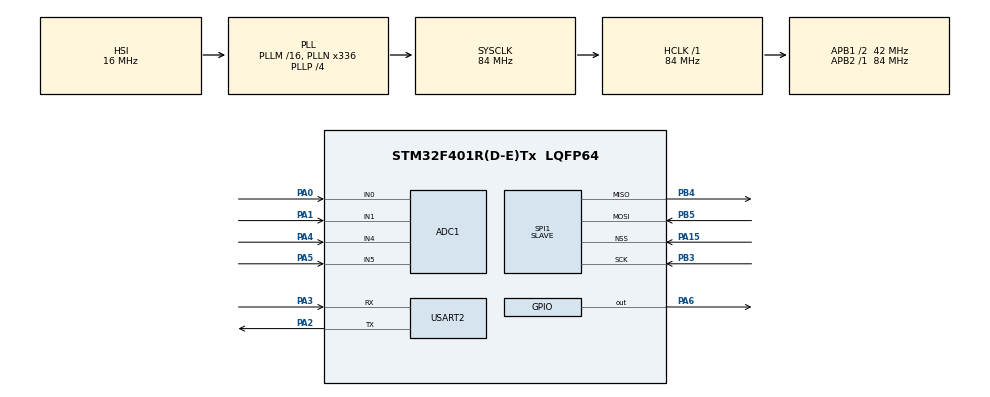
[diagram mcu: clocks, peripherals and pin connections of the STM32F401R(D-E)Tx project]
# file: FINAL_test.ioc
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ADC1.Channel-1\#ChannelRegularConversion=ADC_CHANNEL_0
ADC1.Channel-2\#ChannelRegularConversion=ADC_CHANNEL_1
ADC1.Channel-3\#ChannelRegularConversion=ADC_CHANNEL_4
ADC1.ContinuousConvMode=DISABLE
ADC1.DMAContinuousRequests=ENABLE
ADC1.ExternalTrigConv=ADC_EXTERNALTRIGCONV_T2_TRGO
ADC1.NbrOfConversion=3
ADC1.NbrOfConversionFlag=1
ADC1.Rank-1\#ChannelRegularConversion=1
ADC1.Rank-2\#ChannelRegularConversion=2
ADC1.Rank-3\#ChannelRegularConversion=3
ADC1.SamplingTime-1\#ChannelRegularConversion=ADC_SAMPLETIME_3CYCLES
ADC1.SamplingTime-2\#ChannelRegularConversion=ADC_SAMPLETIME_3CYCLES
ADC1.SamplingTime-3\#ChannelRegularConversion=ADC_SAMPLETIME_3CYCLES
ADC1.ScanConvMode=ENABLE
ADC1.master=1
Dma.ADC1.0.Direction=DMA_PERIPH_TO_MEMORY
Dma.ADC1.0.FIFOMode=DMA_FIFOMODE_DISABLE
Dma.ADC1.0.Instance=DMA2_Stream0
Dma.ADC1.0.MemDataAlignment=DMA_MDATAALIGN_HALFWORD
Dma.ADC1.0.MemInc=DMA_MINC_ENABLE
Dma.ADC1.0.Mode=DMA_CIRCULAR
Dma.ADC1.0.PeriphDataAlignment=DMA_PDATAALIGN_HALFWORD
Dma.ADC1.0.PeriphInc=DMA_PINC_DISABLE
Dma.ADC1.0.Priority=DMA_PRIORITY_LOW
Dma.Request0=ADC1
Dma.Request1=SPI1_TX
Dma.SPI1_TX.1.Direction=DMA_MEMORY_TO_PERIPH
Dma.SPI1_TX.1.FIFOMode=DMA_FIFOMODE_DISABLE
Dma.SPI1_TX.1.Instance=DMA2_Stream3
Dma.SPI1_TX.1.MemDataAlignment=DMA_MDATAALIGN_BYTE
Dma.SPI1_TX.1.MemInc=DMA_MINC_ENABLE
Dma.SPI1_TX.1.Mode=DMA_NORMAL
Dma.SPI1_TX.1.PeriphDataAlignment=DMA_PDATAALIGN_BYTE
Dma.SPI1_TX.1.PeriphInc=DMA_PINC_DISABLE
Dma.SPI1_TX.1.Priority=DMA_PRIORITY_LOW
Mcu.Family=STM32F4
Mcu.Name=STM32F401R(D-E)Tx
Mcu.Package=LQFP64
NVIC.DMA2_Stream0_IRQn=true\:0\:0\:false\:false\:true\:false\:true\:true
NVIC.DMA2_Stream3_IRQn=true\:0\:0\:false\:false\:true\:false\:true\:true
NVIC.PriorityGroup=NVIC_PRIORITYGROUP_4
PA0-WKUP.Signal=ADCx_IN0
PA1.Signal=ADCx_IN1
PA15.Mode=NSS_Signal_Hard_Input
PA15.Signal=SPI1_NSS
PA2.Mode=Asynchronous
PA2.Signal=USART2_TX
PA3.Mode=Asynchronous
PA3.Signal=USART2_RX
PA4.Signal=ADCx_IN4
PA5.Signal=ADCx_IN5
PA6.Signal=GPIO_Output
PB3.Mode=Full_Duplex_Slave
PB3.Signal=SPI1_SCK
PB4.Mode=Full_Duplex_Slave
PB4.Signal=SPI1_MISO
PB5.Mode=Full_Duplex_Slave
PB5.Signal=SPI1_MOSI
ProjectManager.HeapSize=0x200
ProjectManager.StackSize=0x400
ProjectManager.TargetToolchain=STM32CubeIDE
RCC.48MHZClocksFreq_Value=48000000
RCC.AHBFreq_Value=84000000
RCC.APB1CLKDivider=RCC_HCLK_DIV2
RCC.APB1Freq_Value=42000000
RCC.APB1TimFreq_Value=84000000
RCC.APB2Freq_Value=84000000
RCC.APB2TimFreq_Value=84000000
RCC.CortexFreq_Value=84000000
RCC.HCLKFreq_Value=84000000
RCC.HSE_VALUE=8000000
RCC.HSI_VALUE=16000000
RCC.LSE_VALUE=32768
RCC.PLLN=336
RCC.PLLP=RCC_PLLP_DIV4
RCC.PLLQ=7
RCC.SYSCLKFreq_VALUE=84000000
RCC.SYSCLKSource=RCC_SYSCLKSOURCE_PLLCLK
RCC.VCOOutputFreq_Value=336000000
SH.ADCx_IN0.0=ADC1_IN0,IN0
SH.ADCx_IN1.0=ADC1_IN1,IN1
SH.ADCx_IN4.0=ADC1_IN4,IN4
SH.ADCx_IN5.0=ADC1_IN5,IN5
SPI1.Direction=SPI_DIRECTION_2LINES
SPI1.Mode=SPI_MODE_SLAVE
SPI1.VirtualNSS=VM_NSSHARD
SPI1.VirtualType=VM_SLAVE
TIM2.Period=5249
TIM2.TIM_MasterOutputTrigger=TIM_TRGO_UPDATE
USART2.VirtualMode=VM_ASYNC
VP_TIM2_VS_ClockSourceINT.Mode=Internal
board=NUCLEO-F401RE

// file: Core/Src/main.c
/* USER CODE BEGIN Header */
/**
  ******************************************************************************
  * @file           : main.c
  * @brief          : Main program body
  ******************************************************************************
  * @attention
  *
  * Copyright (c) 2025 STMicroelectronics.
  * All rights reserved.
  *
  * This software is licensed under terms that can be found in the LICENSE file
  * in the root directory of this software component.
  * If no LICENSE file comes with this software, it is provided AS-IS.
  *
  ******************************************************************************
  */
/* USER CODE END Header */
#include "main.h"

/* USER CODE BEGIN Includes */
#include <stdio.h>
#include <string.h>
/* USER CODE END Includes */

/* USER CODE BEGIN PD */

#define NUM_CHANNELS 3
#define NUM_SAMPLES (1024 * 2)

#define TOTAL_SAMPLES (NUM_CHANNELS * NUM_SAMPLES)
#define HALF_SAMPLES (TOTAL_SAMPLES / 2)

#define TOTAL_BYTES (TOTAL_SAMPLES * 2)
#define HALF_BYTES (TOTAL_BYTES / 2)
/* USER CODE END PD */

ADC_HandleTypeDef hadc1;
DMA_HandleTypeDef hdma_adc1;

SPI_HandleTypeDef hspi1;
DMA_HandleTypeDef hdma_spi1_tx;

TIM_HandleTypeDef htim2;

UART_HandleTypeDef huart2;

/* USER CODE BEGIN PV */

uint16_t adc_buf[TOTAL_SAMPLES];	//2바이트 : 12비트로 ADC 진행 -> 16비트에 저장:	6144바이트
uint16_t test_buf[TOTAL_SAMPLES];

uint8_t spi_tx_buf[TOTAL_BYTES]; //1바이트 : 2바이트를 1바이트 2개로 저장!: 6144바이트
char uart_tx_buf[128];

/* USER CODE END PV */

void SystemClock_Config(void);
static void MX_GPIO_Init(void);
static void MX_DMA_Init(void);
static void MX_USART2_UART_Init(void);
static void MX_ADC1_Init(void);
static void MX_TIM2_Init(void);
static void MX_SPI1_Init(void);

int main(void)
{

  /* MCU Configuration--------------------------------------------------------*/

  /* Reset of all peripherals, Initializes the Flash interface and the Systick. */
  HAL_Init();

  /* Configure the system clock */
  SystemClock_Config();

  /* Initialize all configured peripherals */
  MX_GPIO_Init();
  MX_DMA_Init();
  MX_USART2_UART_Init();
  MX_ADC1_Init();
  MX_TIM2_Init();
  MX_SPI1_Init();
  /* USER CODE BEGIN 2 */
  HAL_GPIO_WritePin(GPIOA, GPIO_PIN_6, 0);

  HAL_TIM_Base_Start(&htim2);
  HAL_ADC_Start_DMA(&hadc1, (uint32_t *) adc_buf, TOTAL_SAMPLES); //주소

  //memset(test_buf, 240, TOTAL_SAMPLES * 2);
  /* USER CODE END 2 */

  /* Infinite loop */
  while (1)
  {

  }
}

void SystemClock_Config(void)
{
  RCC_OscInitTypeDef RCC_OscInitStruct = {0};
  RCC_ClkInitTypeDef RCC_ClkInitStruct = {0};

  /** Configure the main internal regulator output voltage
  */
  __HAL_RCC_PWR_CLK_ENABLE();
  __HAL_PWR_VOLTAGESCALING_CONFIG(PWR_REGULATOR_VOLTAGE_SCALE2);

  /** Initializes the RCC Oscillators according to the specified parameters
  * in the RCC_OscInitTypeDef structure.
  */
  RCC_OscInitStruct.OscillatorType = RCC_OSCILLATORTYPE_HSI;
  RCC_OscInitStruct.HSIState = RCC_HSI_ON;
  RCC_OscInitStruct.HSICalibrationValue = RCC_HSICALIBRATION_DEFAULT;
  RCC_OscInitStruct.PLL.PLLState = RCC_PLL_ON;
  RCC_OscInitStruct.PLL.PLLSource = RCC_PLLSOURCE_HSI;
  RCC_OscInitStruct.PLL.PLLM = 16;
  RCC_OscInitStruct.PLL.PLLN = 336;
  RCC_OscInitStruct.PLL.PLLP = RCC_PLLP_DIV4;
  RCC_OscInitStruct.PLL.PLLQ = 7;
  if (HAL_RCC_OscConfig(&RCC_OscInitStruct) != HAL_OK)
  {
    Error_Handler();
  }

  /** Initializes the CPU, AHB and APB buses clocks
  */
  RCC_ClkInitStruct.ClockType = RCC_CLOCKTYPE_HCLK|RCC_CLOCKTYPE_SYSCLK
                              |RCC_CLOCKTYPE_PCLK1|RCC_CLOCKTYPE_PCLK2;
  RCC_ClkInitStruct.SYSCLKSource = RCC_SYSCLKSOURCE_PLLCLK;
  RCC_ClkInitStruct.AHBCLKDivider = RCC_SYSCLK_DIV1;
  RCC_ClkInitStruct.APB1CLKDivider = RCC_HCLK_DIV2;
  RCC_ClkInitStruct.APB2CLKDivider = RCC_HCLK_DIV1;

  if (HAL_RCC_ClockConfig(&RCC_ClkInitStruct, FLASH_LATENCY_2) != HAL_OK)
  {
    Error_Handler();
  }
}

static void MX_ADC1_Init(void)
{

  ADC_ChannelConfTypeDef sConfig = {0};

  /** Configure the global features of the ADC (Clock, Resolution, Data Alignment and number of conversion)
  */
  hadc1.Instance = ADC1;
  hadc1.Init.ClockPrescaler = ADC_CLOCK_SYNC_PCLK_DIV4;
  hadc1.Init.Resolution = ADC_RESOLUTION_12B;
  hadc1.Init.ScanConvMode = ENABLE;
  hadc1.Init.ContinuousConvMode = DISABLE;
  hadc1.Init.DiscontinuousConvMode = DISABLE;
  hadc1.Init.ExternalTrigConvEdge = ADC_EXTERNALTRIGCONVEDGE_RISING;
  hadc1.Init.ExternalTrigConv = ADC_EXTERNALTRIGCONV_T2_TRGO;
  hadc1.Init.DataAlign = ADC_DATAALIGN_RIGHT;
  hadc1.Init.NbrOfConversion = 3;
  hadc1.Init.DMAContinuousRequests = ENABLE;
  hadc1.Init.EOCSelection = ADC_EOC_SINGLE_CONV;
  if (HAL_ADC_Init(&hadc1) != HAL_OK)
  {
    Error_Handler();
  }

  /** Configure for the selected ADC regular channel its corresponding rank in the sequencer and its sample time.
  */
  sConfig.Channel = ADC_CHANNEL_0;
  sConfig.Rank = 1;
  sConfig.SamplingTime = ADC_SAMPLETIME_3CYCLES;
  if (HAL_ADC_ConfigChannel(&hadc1, &sConfig) != HAL_OK)
  {
    Error_Handler();
  }

  /** Configure for the selected ADC regular channel its corresponding rank in the sequencer and its sample time.
  */
  sConfig.Channel = ADC_CHANNEL_1;
  sConfig.Rank = 2;
  if (HAL_ADC_ConfigChannel(&hadc1, &sConfig) != HAL_OK)
  {
    Error_Handler();
  }

  /** Configure for the selected ADC regular channel its corresponding rank in the sequencer and its sample time.
  */
  sConfig.Channel = ADC_CHANNEL_4;
  sConfig.Rank = 3;
  if (HAL_ADC_ConfigChannel(&hadc1, &sConfig) != HAL_OK)
  {
    Error_Handler();
  }

}

static void MX_SPI1_Init(void)
{

  /* SPI1 parameter configuration*/
  hspi1.Instance = SPI1;
  hspi1.Init.Mode = SPI_MODE_SLAVE;
  hspi1.Init.Direction = SPI_DIRECTION_2LINES;
  hspi1.Init.DataSize = SPI_DATASIZE_8BIT;
  hspi1.Init.CLKPolarity = SPI_POLARITY_LOW;
  hspi1.Init.CLKPhase = SPI_PHASE_1EDGE;
  hspi1.Init.NSS = SPI_NSS_HARD_INPUT;
  hspi1.Init.FirstBit = SPI_FIRSTBIT_MSB;
  hspi1.Init.TIMode = SPI_TIMODE_DISABLE;
  hspi1.Init.CRCCalculation = SPI_CRCCALCULATION_DISABLE;
  hspi1.Init.CRCPolynomial = 10;
  if (HAL_SPI_Init(&hspi1) != HAL_OK)
  {
    Error_Handler();
  }

}

static void MX_TIM2_Init(void)
{

  TIM_ClockConfigTypeDef sClockSourceConfig = {0};
  TIM_MasterConfigTypeDef sMasterConfig = {0};

  htim2.Instance = TIM2;
  htim2.Init.Prescaler = 0;
  htim2.Init.CounterMode = TIM_COUNTERMODE_UP;
  htim2.Init.Period = 3500; //5249 //1909
  htim2.Init.ClockDivision = TIM_CLOCKDIVISION_DIV1;
  htim2.Init.AutoReloadPreload = TIM_AUTORELOAD_PRELOAD_DISABLE;
  if (HAL_TIM_Base_Init(&htim2) != HAL_OK)
  {
    Error_Handler();
  }
  sClockSourceConfig.ClockSource = TIM_CLOCKSOURCE_INTERNAL;
  if (HAL_TIM_ConfigClockSource(&htim2, &sClockSourceConfig) != HAL_OK)
  {
    Error_Handler();
  }
  sMasterConfig.MasterOutputTrigger = TIM_TRGO_UPDATE;
  sMasterConfig.MasterSlaveMode = TIM_MASTERSLAVEMODE_DISABLE;
  if (HAL_TIMEx_MasterConfigSynchronization(&htim2, &sMasterConfig) != HAL_OK)
  {
    Error_Handler();
  }

}

static void MX_USART2_UART_Init(void)
{

  huart2.Instance = USART2;
  huart2.Init.BaudRate = 115200;
  huart2.Init.WordLength = UART_WORDLENGTH_8B;
  huart2.Init.StopBits = UART_STOPBITS_1;
  huart2.Init.Parity = UART_PARITY_NONE;
  huart2.Init.Mode = UART_MODE_TX_RX;
  huart2.Init.HwFlowCtl = UART_HWCONTROL_NONE;
  huart2.Init.OverSampling = UART_OVERSAMPLING_16;
  if (HAL_UART_Init(&huart2) != HAL_OK)
  {
    Error_Handler();
  }

}

static void MX_DMA_Init(void)
{

  /* DMA controller clock enable */
  __HAL_RCC_DMA2_CLK_ENABLE();

  /* DMA interrupt init */
  /* DMA2_Stream0_IRQn interrupt configuration */
  HAL_NVIC_SetPriority(DMA2_Stream0_IRQn, 0, 0);
  HAL_NVIC_EnableIRQ(DMA2_Stream0_IRQn);
  /* DMA2_Stream3_IRQn interrupt configuration */
  HAL_NVIC_SetPriority(DMA2_Stream3_IRQn, 0, 0);
  HAL_NVIC_EnableIRQ(DMA2_Stream3_IRQn);

}

static void MX_GPIO_Init(void)
{
  GPIO_InitTypeDef GPIO_InitStruct = {0};

  /* GPIO Ports Clock Enable */
  __HAL_RCC_GPIOA_CLK_ENABLE();
  __HAL_RCC_GPIOB_CLK_ENABLE();

  /*Configure GPIO pin Output Level */
  HAL_GPIO_WritePin(GPIOA, GPIO_PIN_6, GPIO_PIN_RESET);

  /*Configure GPIO pin : PA6 */
  GPIO_InitStruct.Pin = GPIO_PIN_6;
  GPIO_InitStruct.Mode = GPIO_MODE_OUTPUT_PP;
  GPIO_InitStruct.Pull = GPIO_NOPULL;
  GPIO_InitStruct.Speed = GPIO_SPEED_FREQ_LOW;
  HAL_GPIO_Init(GPIOA, &GPIO_InitStruct);

}

/* USER CODE BEGIN 4 */
void convert_adc_to_spi(uint16_t* adc_in, uint8_t* spi_out)
{
    for (int i = 0; i < TOTAL_SAMPLES; i++) {
        spi_out[2 * i]     = (uint8_t)(adc_in[i] & 0xFF);        // LSB
        spi_out[2 * i + 1] = (uint8_t)((adc_in[i] >> 8) & 0xFF); // MSB
    }
}

void HAL_ADC_ConvHalfCpltCallback(ADC_HandleTypeDef* hadc)
{
// 현재 핀이 1이라면 0으로 변경 필요하지 않을까
//	//test0
    //HAL_SPI_Transmit_DMA(&hspi1, (uint8_t*)&test_buf[0], HALF_SAMPLES * 2);

	//test Uart
	for (int i = 0; i < 1; i++)  // 3채널 중 일부만
	    {
	        //int idx = i;  // 첫 샘플만 출력
	        snprintf(uart_tx_buf, sizeof(uart_tx_buf), "SPI STATUS: %04x \r\n", adc_buf[0]);
	        HAL_UART_Transmit(&huart2, (uint8_t*)uart_tx_buf, strlen(uart_tx_buf), HAL_MAX_DELAY);
	    }

    //convert_adc_to_spi(&adc_buf[0], spi_tx_buf);
    //HAL_SPI_Transmit_DMA(&hspi1, &spi_tx_buf[0], TOTAL_SAMPLES * 2);
    HAL_SPI_Transmit_DMA(&hspi1, (uint8_t*)&adc_buf[0], HALF_BYTES);
    //HAL_GPIO_WritePin(GPIOA, GPIO_PIN_6, 1);
    HAL_GPIO_TogglePin(GPIOA, GPIO_PIN_6);

    //GPIO PIN WRITE : 1

}

void HAL_ADC_ConvCpltCallback(ADC_HandleTypeDef* hadc)
{
//	//test0
    //HAL_SPI_Transmit_DMA(&hspi1, (uint8_t*)&test_buf[HALF_SAMPLES], HALF_SAMPLES * 2);

    //adc_buf[2048] ~ adc_buf[4095] 사용
   //convert_adc_to_spi(&adc_buf[TOTAL_SAMPLES / 2], spi_tx_buf);
   //HAL_SPI_Transmit_DMA(&hspi1, &spi_tx_buf[TOTAL_SAMPLES / 2], TOTAL_SAMPLES * 2);

   HAL_SPI_Transmit_DMA(&hspi1, (uint8_t*)&adc_buf[TOTAL_SAMPLES / 2], HALF_BYTES);
   //HAL_GPIO_WritePin(GPIOA, GPIO_PIN_6, 1);
   HAL_GPIO_TogglePin(GPIOA, GPIO_PIN_6);

    //GPIO PIN WRITE : 1
}

// SPI COMPLETE CALLBACK
	//GPIO PIN WRITE : 0
void HAL_SPI_TxCpltCallback(SPI_HandleTypeDef* hspi)
{
    HAL_GPIO_WritePin(GPIOA, GPIO_PIN_6, 0);

}

/* USER CODE END 4 */

void Error_Handler(void)
{
  __disable_irq();
  while (1)
  {
  }
}
